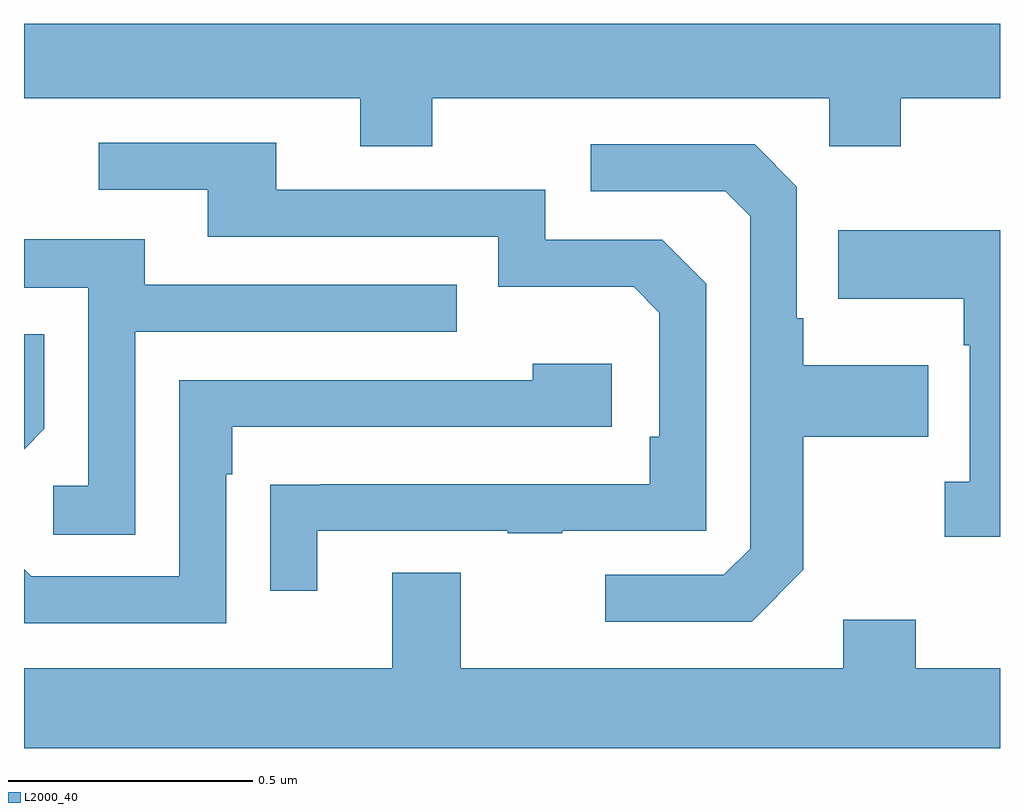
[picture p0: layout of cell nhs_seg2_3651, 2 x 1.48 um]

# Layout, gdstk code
import gdstk
lib = gdstk.Library(unit=1e-6, precision=1e-09)
def P(c, l, *ps):  # polygons
    for p in ps: c.add(gdstk.Polygon(p, *l))
L2000_40 = (2000, 40)

nhs_seg2_3651 = lib.new_cell('nhs_seg2_3651')
P(nhs_seg2_3651, L2000_40, [(156.837,635.648),(157.65,635.648),(157.65,635.549),(157.797,635.549),(157.797,635.648),(158,635.648),(158,635.8),(156,635.8),(156,635.648),(156.689,635.648),(156.689,635.549),(156.837,635.549)],
  [(156.601,634.761),(156.991,634.761),(156.991,634.756),(157.103,634.756),(157.103,634.761),(157.398,634.761),(157.398,635.268),(157.308,635.358),(157.068,635.358),(157.068,635.46),(156.517,635.46),(156.517,635.556),(156.153,635.556),(156.153,635.46),(156.377,635.46),(156.377,635.364),(156.972,635.364),(156.972,635.261),(157.249,635.261),(157.302,635.208),(157.302,634.954),(157.282,634.954),(157.282,634.857),(156.607,634.857),(156.607,634.856),(156.505,634.856),(156.505,634.638),(156.601,634.638)],
  [(157.597,634.681),(157.597,634.954),(157.853,634.954),(157.853,635.101),(157.597,635.101),(157.597,635.197),(157.584,635.197),(157.584,635.466),(157.497,635.553),(157.161,635.553),(157.161,635.457),(157.437,635.457),(157.488,635.406),(157.488,634.725),(157.434,634.671),(157.191,634.671),(157.191,634.575),(157.491,634.575)],
  [(158,635.377),(157.669,635.377),(157.669,635.237),(157.926,635.237),(157.926,635.141),(157.938,635.141),(157.938,634.862),(157.887,634.862),(157.887,634.749),(158,634.749)],
  [(156.228,635.169),(156.887,635.169),(156.887,635.265),(156.247,635.265),(156.247,635.359),(156,635.359),(156,635.259),(156.132,635.259),(156.132,634.854),(156.06,634.854),(156.06,634.753),(156.228,634.753)],
  [(156.042,634.97),(156.042,635.164),(156,635.164),(156,634.928)],
  [(156.414,634.877),(156.427,634.877),(156.427,634.974),(157.204,634.974),(157.204,635.104),(157.043,635.104),(157.043,635.07),(156.318,635.07),(156.318,634.668),(156.015,634.668),(156,634.683),(156,634.572),(156.414,634.572)],
  [(158,634.48),(157.827,634.48),(157.827,634.579),(157.679,634.579),(157.679,634.48),(156.895,634.48),(156.895,634.675),(156.755,634.675),(156.755,634.48),(156,634.48),(156,634.316),(158,634.316)])

lib.write_gds('nhs_seg2_3651.gds')
